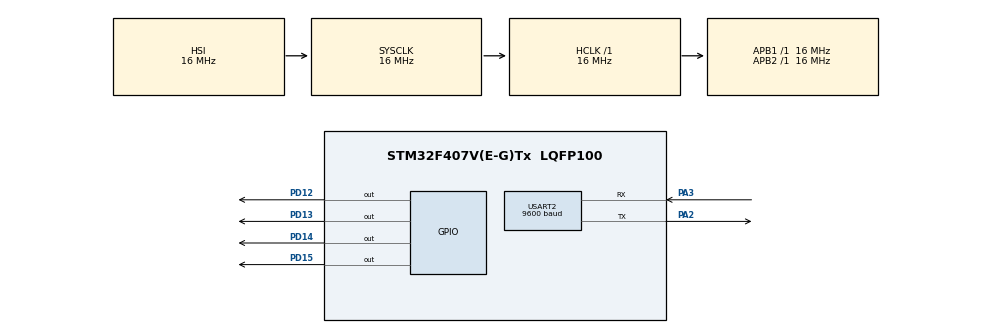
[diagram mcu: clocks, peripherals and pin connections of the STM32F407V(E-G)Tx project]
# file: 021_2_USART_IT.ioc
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Mcu.Family=STM32F4
Mcu.Name=STM32F407V(E-G)Tx
Mcu.Package=LQFP100
NVIC.PriorityGroup=NVIC_PRIORITYGROUP_4
NVIC.USART2_IRQn=true\:0\:0\:false\:false\:true\:true\:true
PA2.Mode=Asynchronous
PA2.Signal=USART2_TX
PA3.Mode=Asynchronous
PA3.Signal=USART2_RX
PD12.Signal=GPIO_Output
PD13.Signal=GPIO_Output
PD14.Signal=GPIO_Output
PD15.Signal=GPIO_Output
ProjectManager.HeapSize=0x200
ProjectManager.StackSize=0x400
ProjectManager.TargetToolchain=STM32CubeIDE
RCC.AHBFreq_Value=16000000
RCC.APB1Freq_Value=16000000
RCC.APB2Freq_Value=16000000
RCC.CortexFreq_Value=16000000
RCC.HSE_VALUE=25000000
RCC.HSI_VALUE=16000000
RCC.LSE_VALUE=32768
RCC.SYSCLKFreq_VALUE=16000000
RCC.VCOOutputFreq_Value=192000000
USART2.BaudRate=9600
USART2.VirtualMode=VM_ASYNC
board=custom

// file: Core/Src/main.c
/* USER CODE BEGIN Header */
/**
  ******************************************************************************
  * @file           : main.c
  * @brief          : Main program body
  ******************************************************************************
  * @attention
  *
  * <h2><center>&copy; Copyright (c) 2021 STMicroelectronics.
  * All rights reserved.</center></h2>
  *
  * This software component is licensed by ST under BSD 3-Clause license,
  * the "License"; You may not use this file except in compliance with the
  * License. You may obtain a copy of the License at:
  *                        opensource.org/licenses/BSD-3-Clause
  *
  ******************************************************************************
  */
/* USER CODE END Header */
#include "main.h"

/* USER CODE BEGIN Includes */
#include "string.h"

/* USER CODE END Includes */

UART_HandleTypeDef huart2;

/* USER CODE BEGIN PV */
static char* UartTx = "MERHABA UART BASLADI\t\n";
static char* msg = "LED KODUNU GIRINIZ\t\n";
char rxBuffer[4];

const char *sinus = "\n0\n25\n49\n71\n90\n106\n117\n125\n"
		"127\n125\n117\n106\n90\n71\n49\n25\n"
		"0\n-25\n-49\n-71\n-90\n-106\n-117\n-125\n"
		"-127\n-125\n-117\n-106\n-90\n-71\n-49\n-25\n";
/* USER CODE END PV */

void SystemClock_Config(void);
static void MX_GPIO_Init(void);
static void MX_USART2_UART_Init(void);

int main(void)
{

  /* MCU Configuration--------------------------------------------------------*/

  /* Reset of all peripherals, Initializes the Flash interface and the Systick. */
  HAL_Init();

  /* Configure the system clock */
  SystemClock_Config();

  /* Initialize all configured peripherals */
  MX_GPIO_Init();
  MX_USART2_UART_Init();
  /* USER CODE BEGIN 2 */

    while(HAL_UART_GetState(&huart2)!= HAL_UART_STATE_READY);
    if(HAL_UART_Transmit_IT(&huart2, (uint8_t *)UartTx, 25)!=HAL_OK){
  	  Error_Handler();
    }

    while(HAL_UART_GetState(&huart2)!= HAL_UART_STATE_READY);
    if(HAL_UART_Transmit_IT(&huart2, (uint8_t *)msg, 25)!=HAL_OK){
  	  Error_Handler();
    }

    while(HAL_UART_GetState(&huart2)!= HAL_UART_STATE_READY);
    if(HAL_UART_Receive_IT(&huart2, (uint8_t *)rxBuffer, 4)!=HAL_OK){
  	  Error_Handler();
    }
  /* USER CODE END 2 */

  /* Infinite loop */
  while (1)
  {

  }
}

void SystemClock_Config(void)
{
  RCC_OscInitTypeDef RCC_OscInitStruct = {0};
  RCC_ClkInitTypeDef RCC_ClkInitStruct = {0};

  /** Configure the main internal regulator output voltage
  */
  __HAL_RCC_PWR_CLK_ENABLE();
  __HAL_PWR_VOLTAGESCALING_CONFIG(PWR_REGULATOR_VOLTAGE_SCALE1);
  /** Initializes the RCC Oscillators according to the specified parameters
  * in the RCC_OscInitTypeDef structure.
  */
  RCC_OscInitStruct.OscillatorType = RCC_OSCILLATORTYPE_HSI;
  RCC_OscInitStruct.HSIState = RCC_HSI_ON;
  RCC_OscInitStruct.HSICalibrationValue = RCC_HSICALIBRATION_DEFAULT;
  RCC_OscInitStruct.PLL.PLLState = RCC_PLL_NONE;
  if (HAL_RCC_OscConfig(&RCC_OscInitStruct) != HAL_OK)
  {
    Error_Handler();
  }
  /** Initializes the CPU, AHB and APB buses clocks
  */
  RCC_ClkInitStruct.ClockType = RCC_CLOCKTYPE_HCLK|RCC_CLOCKTYPE_SYSCLK
                              |RCC_CLOCKTYPE_PCLK1|RCC_CLOCKTYPE_PCLK2;
  RCC_ClkInitStruct.SYSCLKSource = RCC_SYSCLKSOURCE_HSI;
  RCC_ClkInitStruct.AHBCLKDivider = RCC_SYSCLK_DIV1;
  RCC_ClkInitStruct.APB1CLKDivider = RCC_HCLK_DIV1;
  RCC_ClkInitStruct.APB2CLKDivider = RCC_HCLK_DIV1;

  if (HAL_RCC_ClockConfig(&RCC_ClkInitStruct, FLASH_LATENCY_0) != HAL_OK)
  {
    Error_Handler();
  }
}

static void MX_USART2_UART_Init(void)
{

  huart2.Instance = USART2;
  huart2.Init.BaudRate = 9600;
  huart2.Init.WordLength = UART_WORDLENGTH_8B;
  huart2.Init.StopBits = UART_STOPBITS_1;
  huart2.Init.Parity = UART_PARITY_NONE;
  huart2.Init.Mode = UART_MODE_TX_RX;
  huart2.Init.HwFlowCtl = UART_HWCONTROL_NONE;
  huart2.Init.OverSampling = UART_OVERSAMPLING_16;
  if (HAL_UART_Init(&huart2) != HAL_OK)
  {
    Error_Handler();
  }

}

static void MX_GPIO_Init(void)
{
  GPIO_InitTypeDef GPIO_InitStruct = {0};

  /* GPIO Ports Clock Enable */
  __HAL_RCC_GPIOA_CLK_ENABLE();
  __HAL_RCC_GPIOD_CLK_ENABLE();

  /*Configure GPIO pin Output Level */
  HAL_GPIO_WritePin(GPIOD, GPIO_PIN_12|GPIO_PIN_13|GPIO_PIN_14|GPIO_PIN_15, GPIO_PIN_RESET);

  /*Configure GPIO pins : PD12 PD13 PD14 PD15 */
  GPIO_InitStruct.Pin = GPIO_PIN_12|GPIO_PIN_13|GPIO_PIN_14|GPIO_PIN_15;
  GPIO_InitStruct.Mode = GPIO_MODE_OUTPUT_PP;
  GPIO_InitStruct.Pull = GPIO_NOPULL;
  GPIO_InitStruct.Speed = GPIO_SPEED_FREQ_LOW;
  HAL_GPIO_Init(GPIOD, &GPIO_InitStruct);

}

/* USER CODE BEGIN 4 */
void HAL_UART_RxCpltCallback(UART_HandleTypeDef *huart)
{
	  if(HAL_UART_Receive_IT(&huart2, (uint8_t *)rxBuffer, 4)!=HAL_OK){
		  Error_Handler();
	  }
	  if(strncmp (rxBuffer, "LED1", 4)==0){
		  if(HAL_UART_Transmit_IT(&huart2, (uint8_t *)"LED1 YANDI\t\n", 12)!=HAL_OK){
			  Error_Handler();
		  }
		  HAL_GPIO_WritePin(GPIOD, GPIO_PIN_12, GPIO_PIN_SET);
		  HAL_GPIO_WritePin(GPIOD, GPIO_PIN_13, GPIO_PIN_SET);
		  HAL_GPIO_WritePin(GPIOD, GPIO_PIN_14, GPIO_PIN_RESET);
		  HAL_GPIO_WritePin(GPIOD, GPIO_PIN_15, GPIO_PIN_RESET);
	  }
	  else if(strncmp (rxBuffer, "LED2", 4)==0){
		  if(HAL_UART_Transmit_IT(&huart2, (uint8_t *)"LED2 YANDI\t\n", 12)!=HAL_OK){
			  Error_Handler();
		  }
		  HAL_GPIO_WritePin(GPIOD, GPIO_PIN_12, GPIO_PIN_RESET);
		  HAL_GPIO_WritePin(GPIOD, GPIO_PIN_13, GPIO_PIN_RESET);
		  HAL_GPIO_WritePin(GPIOD, GPIO_PIN_14, GPIO_PIN_SET);
		  HAL_GPIO_WritePin(GPIOD, GPIO_PIN_15, GPIO_PIN_SET);
	  }

}

void HAL_UART_TxCpltCallback(UART_HandleTypeDef *huart)
{
	/*  if(HAL_UART_Transmit_IT(&huart2, (uint8_t *)sinus, strlen(sinus))!=HAL_OK){
		  Error_Handler();
	  }*/
}
/* USER CODE END 4 */

void Error_Handler(void)
{
  __disable_irq();
  while (1)
  {
  }
}

/************************ (C) COPYRIGHT STMicroelectronics *****END OF FILE****/
